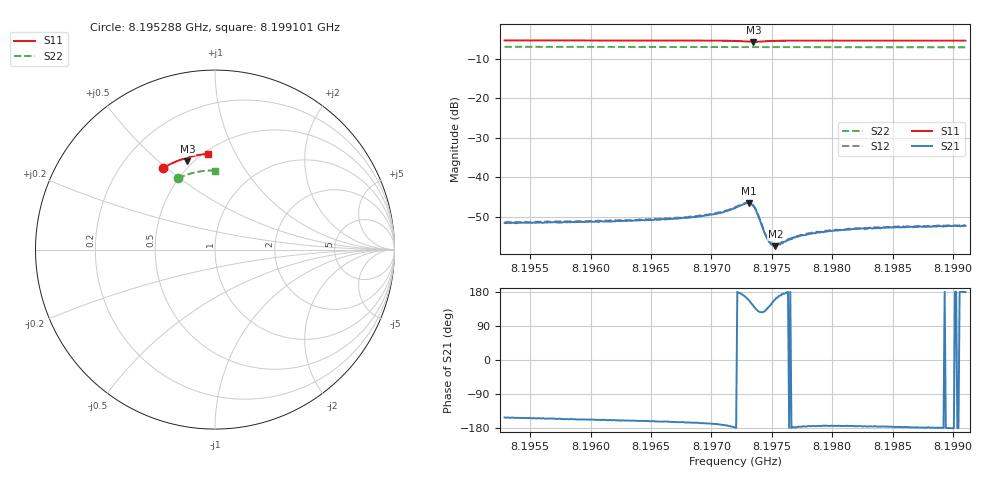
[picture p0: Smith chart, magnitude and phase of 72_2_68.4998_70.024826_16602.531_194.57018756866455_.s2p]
#  HZ  S  RI  R  50.00
! Rohde & Schwarz Vector Network Analyzer
! Rohde-Schwarz,ZNB20-2Port,1311601062101988,3.16
! Created: UTC 3/20/2024, 4:51:47 PM
! freq[Hz]  re:S11  im:S11  re:S21  im:S21  re:S12  im:S12  re:S22  im:S22
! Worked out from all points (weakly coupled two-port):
!   401 points, 8.195288 GHz to 8.199101 GHz, reference 50 ohm
!   highest |S21| = -46.46 dB at 8.197309 GHz (marker M1); lowest = -57.4 dB at 8.197528 GHz (marker M2)
!   lowest |S11| = -5.8 dB at 8.197347 GHz (marker M3), VSWR 3.13, Z = 23.4 + j31.3 ohm
!   |S11| at or under -10 dB: nowhere
!   |S22| runs from -7.1 to -7.0 dB; largest |S21 - S12| = 0.00025
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8.1952878e9  -0.2909 0.4525  -0.00234 -0.00126  -0.00242 -0.0012  -0.206 0.3967
8.1959266e9  -0.2514 0.4748  -0.00252 -0.00109  -0.00261 -0.00102  -0.1733 0.411
8.1965654e9  -0.2094 0.4939  -0.00279 -0.000877  -0.00289 -0.000822  -0.1394 0.4225
8.1968037e9  -0.1928 0.5002  -0.00299 -0.000815  -0.00306 -0.000729  -0.1266 0.4262
8.1969658e9  -0.1806 0.5039  -0.00325 -0.000718  -0.00334 -0.000595  -0.1176 0.4285
8.1970802e9  -0.1711 0.5058  -0.00354 -0.000585  -0.00364 -0.000443  -0.1114 0.43
8.1971946e9  -0.1599 0.5061  -0.00408 -0.00014  -0.00421 4.45e-05  -0.1051 0.4311
8.1972709e9  -0.1519 0.5018  -0.00455 0.00086  -0.00458 0.00105  -0.1009 0.4319
8.197309e9  -0.1502 0.4967  -0.0044 0.0018  -0.00438 0.00202  -0.0986 0.4323
8.1973281e9  -0.1512 0.4941  -0.00401 0.00231  -0.004 0.0025  -0.0976 0.4324
8.1973472e9  -0.1533 0.4922  -0.00344 0.00266  -0.00336 0.00284  -0.0968 0.4325
8.1973758e9  -0.1577 0.4923  -0.00242 0.00268  -0.00232 0.00285  -0.0954 0.4328
8.197433e9  -0.161 0.4996  -0.00127 0.00167  -0.00124 0.00177  -0.0925 0.4337
8.1974616e9  -0.1597 0.5031  -0.0012 0.00118  -0.00115 0.00126  -0.0908 0.4339
8.1974902e9  -0.1578 0.506  -0.00119 0.000814  -0.00121 0.000908  -0.0892 0.4342
8.1975283e9  -0.1548 0.5089  -0.00127 0.000463  -0.00132 0.000558  -0.0871 0.4346
8.1975855e9  -0.1499 0.5119  -0.00146 0.000143  -0.00151 0.000233  -0.0839 0.4353
8.1976904e9  -0.1412 0.5155  -0.00174 -7.35e-05  -0.00176 3.1e-06  -0.0779 0.4362
8.1978334e9  -0.1303 0.519  -0.00197 -0.000193  -0.00201 -0.000134  -0.0699 0.4372
8.1981766e9  -0.1052 0.5248  -0.00222 -0.000225  -0.00227 -0.000129  -0.0507 0.4394
8.1984722e9  -0.084 0.5284  -0.00233 -0.000176  -0.00236 -8.24e-05  -0.034 0.4404
8.1991014e9  -0.0393 0.5328  -0.00244 2.75e-05  -0.00248 0.00012  0.00154 0.4406
